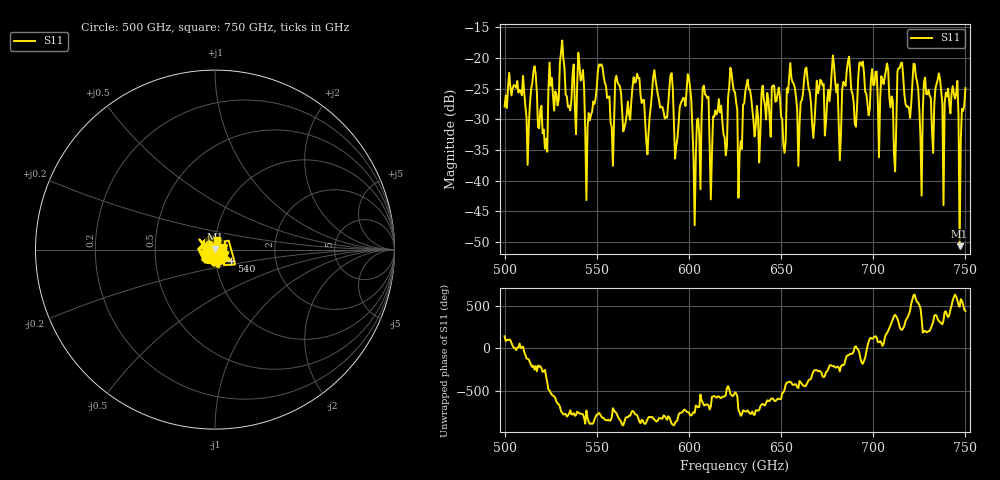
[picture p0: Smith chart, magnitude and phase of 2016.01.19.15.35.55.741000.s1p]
!Created with skrf (http://scikit-rf.org).
# GHz S RI R 50.0
!freq ReS11 ImS11
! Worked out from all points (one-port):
!   401 points, 500 GHz to 750 GHz, reference 50 ohm
!   lowest |S11| = -50.6 dB at 746.9 GHz (marker M1), VSWR 1.01, Z = 49.8 + j0.234 ohm
!   |S11| at or under -10 dB: start of sweep to end of sweep
!   S11 on the Smith chart (normalised r, x): 500 GHz: 0.94, +0.05; 540 GHz: 1.19, -0.15; 750 GHz: 1.02, +0.11
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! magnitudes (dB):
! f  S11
! 500 GHz  -27.9
! 516.2 GHz  -21.4
! 521.9 GHz  -34.8
! 531.2 GHz  -17.2
! 540 GHz  -19.2
! 545 GHz  -31.4
! 551.9 GHz  -21.3
! 558.1 GHz  -31.2
! 562.5 GHz  -24.5
! 577.5 GHz  -35.7
! 590 GHz  -22.9
! 593.8 GHz  -33.1
! 600 GHz  -23.2
! 603.1 GHz  -47.2
! 608.8 GHz  -25.9
! 612.5 GHz  -35.6
! 625 GHz  -25.6
! 627.5 GHz  -35.6
! 631.9 GHz  -23.5
! 651.2 GHz  -34.1
! 656.2 GHz  -23.9
! 678.8 GHz  -21.3
! 681.2 GHz  -30.6
! 687.5 GHz  -22.3
! 718.8 GHz  -27.9
! 744.4 GHz  -26.6
! 746.9 GHz  -50.6
! 750 GHz  -24.9
